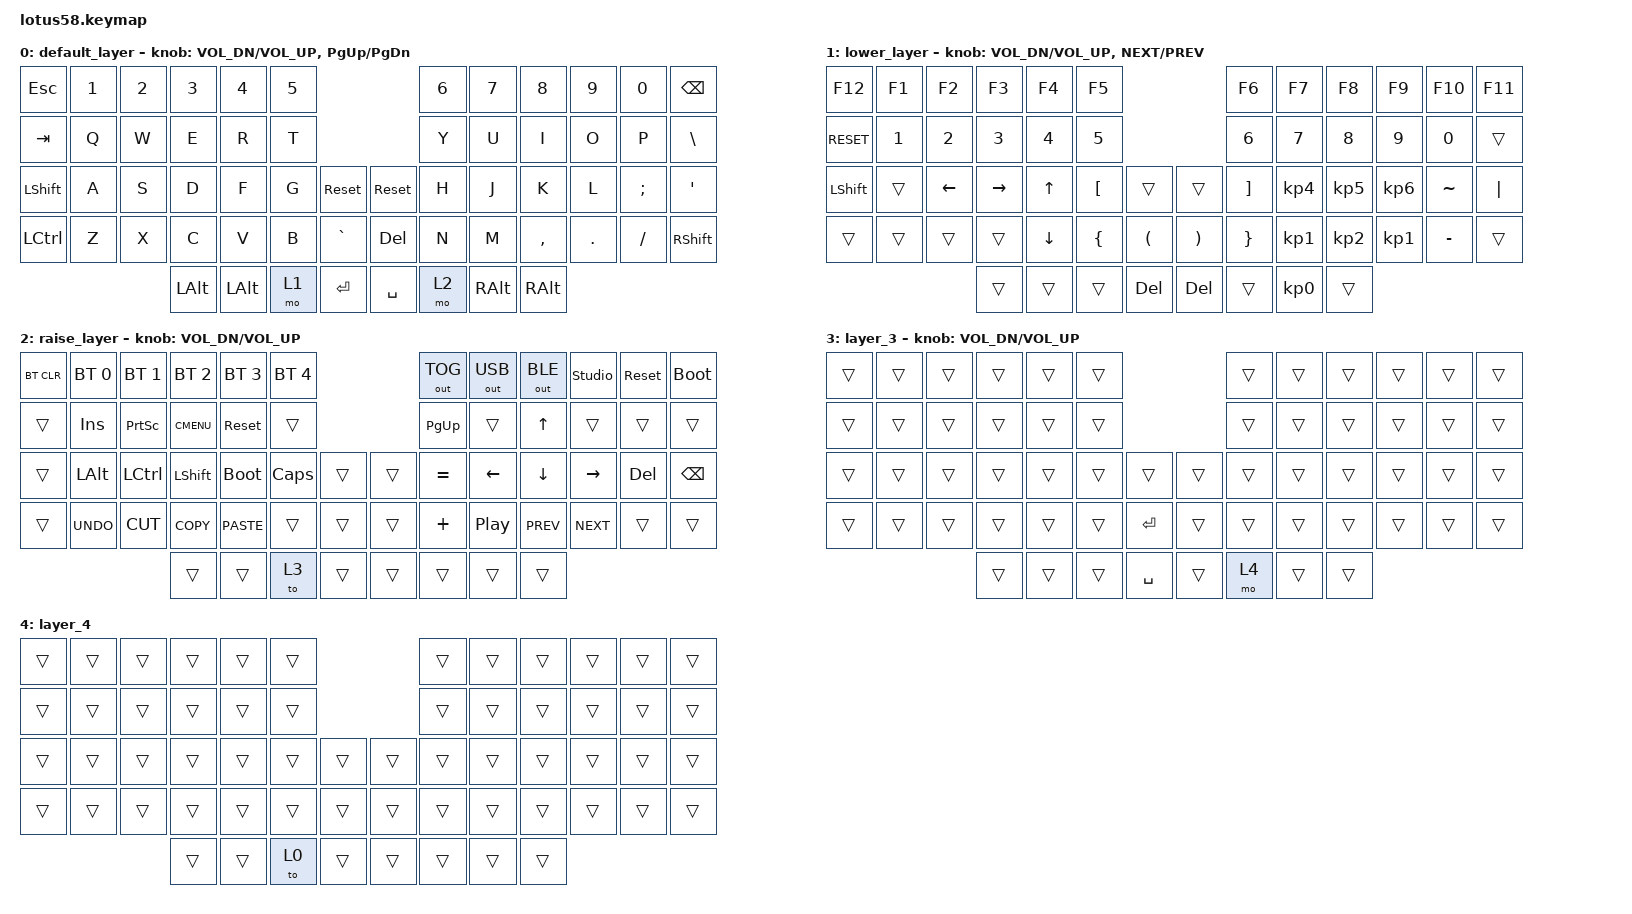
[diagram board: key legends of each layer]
/*
 * Copyright (c) 2022 The ZMK Contributors
 *
 * SPDX-License-Identifier: MIT
 */

#include <behaviors.dtsi>
#include <dt-bindings/zmk/bt.h>
#include <dt-bindings/zmk/keys.h>
#include <dt-bindings/zmk/outputs.h>

/ {
    combos {
        compatible = "zmk,combos";

        combo_dsklg {
            timeout-ms = <100>;
            key-positions = <24 52>;
            layers = <0>;
            bindings = <&kp LGUI>;
        };
    };

    behaviors {
        fofunc: four_ffour {
            compatible = "zmk,behavior-mod-morph";
            #binding-cells = <0>;
            bindings = <&kp N4>, <&kp F4>;

            mods = <(MOD_LALT|MOD_RALT)>;
        };

        sleft: s_left {
            compatible = "zmk,behavior-mod-morph";
            #binding-cells = <0>;
            bindings = <&kp S>, <&kp LEFT>;

            mods = <(MOD_LGUI|MOD_RGUI)>;
        };

        fright: f_right {
            compatible = "zmk,behavior-mod-morph";
            #binding-cells = <0>;
            bindings = <&kp F>, <&kp RIGHT>;

            mods = <(MOD_LGUI|MOD_RGUI)>;
        };
    };

    keymap {
        compatible = "zmk,keymap";

        default_layer {
            //   ------------------------------------------------------------------------------------------------------------
            //  0|  ESC  |  1  |  2  |  3   |  4   |  5   |                     |  6   |  7    |  8    |  9   |   0   |   =   | 11
            // 12|  TAB  |  Q  |  W  |  E   |  R   |  T   |                     |  Y   |  U    |  I    |  O   |   P   |   [   | 23
            // 24|  SFT  |  A  |  S  |  D   |  F   |  G   |  RESET  |  | RESET  |  H   |  J    |  K    |  L   |   ;   | ' SFT | 37
            // 38|  CTRL |  Z  |  X  |  C   |  V   |  B   |  MUTE   |  | PLAY   |  N   |  M    |  ,    |  .   |   /   | \ CTRL| 51
            // 52                    | ALT  |  ALT | LOWER| ENTER   |  | SPACE  | RAISE| RALT  | RALT  |                        59

            bindings = <
&kp ESC    &kp N1  &kp N2  &kp N3        &kp NUMBER_4  &kp N5                          &kp N6  &kp N7         &kp N8         &kp N9   &kp N0    &kp BACKSPACE
&kp TAB    &kp Q   &kp W   &kp E         &kp R         &kp T                           &kp Y   &kp U          &kp I          &kp O    &kp P     &kp BACKSLASH
&kp LSHFT  &kp A   &kp S   &kp D         &kp F         &kp G   &sys_reset  &sys_reset  &kp H   &kp J          &kp K          &kp L    &kp SEMI  &kp SQT
&kp LCTRL  &kp Z   &kp X   &kp C         &kp V         &kp B   &kp GRAVE   &kp DELETE  &kp N   &kp M          &kp COMMA      &kp DOT  &kp FSLH  &kp RIGHT_SHIFT
                           &kp LALT      &kp LALT      &mo 1   &kp ENTER   &kp SPACE   &mo 2   &kp RIGHT_ALT  &kp RIGHT_ALT
            >;

            sensor-bindings = <&inc_dec_kp C_VOL_DN C_VOL_UP &inc_dec_kp PG_UP PG_DN>;
        };

        lower_layer {
            // ------------------------------------------------------------------------------------------------------------
            // | `     |  F1 |  F2 |  F3  |  F4  |  F5  |                   |  F6  |  F7   |  F8   |  F9  |  F10  |  F11  |
            // |       |  !  | HOME|   ^  |  END |  %   |                   | VOL^ |  PGUP |  INS  |  ^   |  PSCR |   -   |
            // |       |  #  |  <- |   v  | ->   |  $   |        |  |       | VOLv |    <- |   ^   |  ->  |   ~   |   _   |
            // |       |  @  |  -  |  (   |  )   |  &   |        |  |       | MUTE |  PGDN |   v   |  :   |   *   |   |   |
            //                     |  F11 |      |      |        |  |       |      |       |  F12  |

            bindings = <
&kp F12         &kp F1        &kp F2        &kp F3        &kp F4        &kp F5                                                         &kp F6             &kp F7           &kp F8           &kp F9           &kp F10    &kp F11
&kp C_RESET     &kp NUMBER_1  &kp NUMBER_2  &kp NUMBER_3  &kp NUMBER_4  &kp NUMBER_5                                                   &kp NUMBER_6       &kp N7           &kp N8           &kp N9           &kp N0     &trans
&kp LEFT_SHIFT  &trans        &kp LEFT      &kp RIGHT     &kp UP_ARROW  &kp LEFT_BRACKET  &trans                &trans                 &kp RIGHT_BRACKET  &kp KP_NUMBER_4  &kp KP_NUMBER_5  &kp KP_NUMBER_6  &kp TILDE  &kp PIPE
&trans          &trans        &trans        &trans        &kp DOWN      &kp LEFT_BRACE    &kp LEFT_PARENTHESIS  &kp RIGHT_PARENTHESIS  &kp RIGHT_BRACE    &kp KP_NUMBER_1  &kp KP_NUMBER_2  &kp KP_NUMBER_1  &kp MINUS  &trans
                                            &trans        &trans        &trans            &kp DEL               &kp DEL                &trans             &kp KP_NUMBER_0  &trans
            >;

            sensor-bindings = <&inc_dec_kp C_VOL_DN C_VOL_UP &inc_dec_kp C_NEXT C_PREV>;
        };

        raise_layer {
            // ------------------------------------------------------------------------------------------------------------
            // |BTCLR| BT1  | BT2  |  BT3  |  BT4  |  BT5 |                |OUTTOG|OUTUSB| OUTBT |UNLOCK| RESET | FLASH |
            // |     | INS  | PSCR | GUI   | RESET |      |                | PGUP |      |   ^   |      |       |       |
            // |     | ALT  | CTRL | SHIFT | FLASH | CAPS |      |  |      | PGDN |   <- |   v   |  ->  |  DEL  | BSPC  |
            // |     | UNDO | CUT  | COPY  | PASTE |      |      |  |      |      |  |>  |  <|<| | |>|> |       |       |
            //                     |       |       |      |      |  |      |      |      |       |

            bindings = <
&bt BT_CLR  &bt BT_SEL 0  &bt BT_SEL 1  &bt BT_SEL 2  &bt BT_SEL 3  &bt BT_SEL 4                  &out OUT_TOG  &out OUT_USB  &out OUT_BLE  &studio_unlock  &sys_reset  &bootloader
&trans      &kp INS       &kp PSCRN     &kp K_CMENU   &sys_reset    &trans                        &kp PG_UP     &trans        &kp UP        &trans      &trans      &trans
&trans      &kp LALT      &kp LCTRL     &kp LSHFT     &bootloader   &kp CLCK      &trans  &trans  &kp EQUAL     &kp LEFT      &kp DOWN      &kp RIGHT   &kp DEL     &kp BSPC
&trans      &kp K_UNDO    &kp K_CUT     &kp K_COPY    &kp K_PASTE   &trans        &trans  &trans  &kp PLUS      &kp C_PP      &kp C_PREV    &kp C_NEXT  &trans      &trans
                                        &trans        &trans        &to 3         &trans  &trans  &trans        &trans        &trans
            >;

            sensor-bindings = <&inc_dec_kp C_VOL_DN C_VOL_UP>;
        };

        layer_3 {
            bindings = <
&trans  &trans  &trans  &trans  &trans  &trans                     &trans  &trans  &trans  &trans  &trans  &trans
&trans  &trans  &trans  &trans  &trans  &trans                     &trans  &trans  &trans  &trans  &trans  &trans
&trans  &trans  &trans  &trans  &trans  &trans  &trans     &trans  &trans  &trans  &trans  &trans  &trans  &trans
&trans  &trans  &trans  &trans  &trans  &trans  &kp ENTER  &trans  &trans  &trans  &trans  &trans  &trans  &trans
                        &trans  &trans  &trans  &kp SPACE  &trans  &mo 4   &trans  &trans
            >;

            sensor-bindings = <&inc_dec_kp C_VOL_DN C_VOL_UP>;
        };

        layer_4 {
            bindings = <
&trans  &trans  &trans  &trans  &trans  &trans                  &trans  &trans  &trans  &trans  &trans  &trans
&trans  &trans  &trans  &trans  &trans  &trans                  &trans  &trans  &trans  &trans  &trans  &trans
&trans  &trans  &trans  &trans  &trans  &trans  &trans  &trans  &trans  &trans  &trans  &trans  &trans  &trans
&trans  &trans  &trans  &trans  &trans  &trans  &trans  &trans  &trans  &trans  &trans  &trans  &trans  &trans
                        &trans  &trans  &to 0   &trans  &trans  &trans  &trans  &trans
            >;
        };
    };
};
